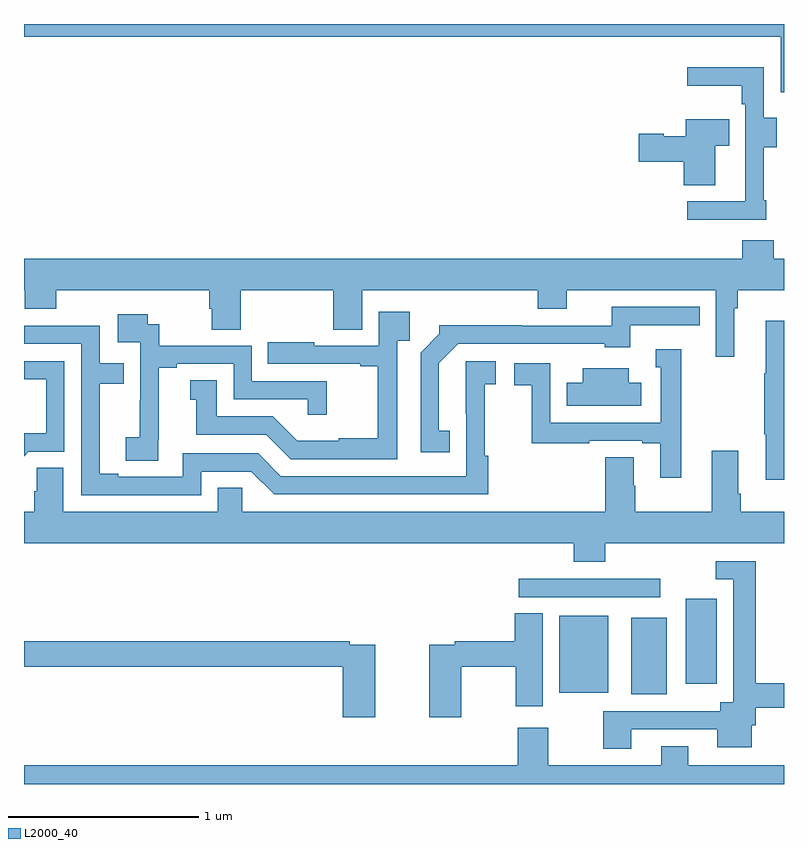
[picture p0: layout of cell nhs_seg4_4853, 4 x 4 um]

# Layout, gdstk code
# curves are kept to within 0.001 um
import gdstk
lib = gdstk.Library(unit=1e-6, precision=1e-09)
def R(c, l, rs):  # rectangles x0, y0, x1, y1
    for r in rs: c.add(gdstk.rectangle(r[:2], r[2:], *l))
def P(c, l, *ps):  # polygons
    for p in ps: c.add(gdstk.Polygon(p, *l))
L2000_40 = (2000, 40)

nhs_seg4_4853 = lib.new_cell('nhs_seg4_4853')
R(nhs_seg4_4853, L2000_40, [(376.196,781.373,376.384,781.774), (375.818,781.379,376.075,781.786), (376.484,781.428,376.645,781.876), (375.603,781.884,376.348,781.98)])
P(nhs_seg4_4853, L2000_40, [(377,784.9),(373,784.9),(373,784.832),(376.983,784.832),(376.983,784.542),(377,784.542)],
  [(376.906,783.973),(376.893,783.973),(376.893,784.252),(376.963,784.252),(376.963,784.407),(376.893,784.407),(376.893,784.672),(376.491,784.672),(376.491,784.574),(376.777,784.574),(376.777,784.478),(376.797,784.478),(376.797,784.163),(376.796,784.163),(376.796,783.966),(376.491,783.966),(376.491,783.87),(376.906,783.87)],
  [(376.639,784.259),(376.712,784.259),(376.712,784.399),(376.484,784.399),(376.484,784.309),(376.368,784.309),(376.368,784.322),(376.236,784.322),(376.236,784.175),(376.472,784.175),(376.472,784.051),(376.639,784.051)],
  [(376.738,783.404),(376.757,783.404),(376.757,783.5),(377,783.5),(377,783.664),(376.946,783.664),(376.946,783.763),(376.781,783.763),(376.781,783.664),(373,783.664),(373,783.5),(373.004,783.5),(373.004,783.401),(373.169,783.401),(373.169,783.5),(373.976,783.5),(373.976,783.402),(373.988,783.402),(373.988,783.292),(374.141,783.292),(374.141,783.5),(374.627,783.5),(374.627,783.292),(374.779,783.292),(374.779,783.5),(375.704,783.5),(375.704,783.401),(375.856,783.401),(375.856,783.5),(376.641,783.5),(376.641,783.15),(376.738,783.15)],
  [(375.242,782.759),(375.184,782.759),(375.184,783.115),(375.285,783.216),(376.056,783.216),(376.056,783.2),(376.192,783.2),(376.192,783.315),(376.556,783.315),(376.556,783.411),(376.093,783.411),(376.093,783.312),(375.62,783.312),(375.62,783.314),(375.186,783.314),(375.186,783.269),(375.087,783.17),(375.087,782.646),(375.242,782.646)],
  [(374.964,783.233),(375.029,783.233),(375.029,783.385),(374.868,783.385),(374.868,783.207),(374.527,783.207),(374.527,783.226),(374.284,783.226),(374.284,783.111),(374.771,783.111),(374.771,783.099),(374.863,783.099),(374.863,782.719),(374.657,782.719),(374.657,782.707),(374.438,782.707),(374.31,782.835),(374.014,782.835),(374.014,783.026),(373.874,783.026),(373.874,782.923),(373.907,782.923),(373.907,782.739),(374.274,782.739),(374.403,782.61),(374.964,782.61)],
  [(373.706,782.713),(373.708,782.713),(373.708,783.091),(373.804,783.091),(373.804,783.111),(374.103,783.111),(374.103,782.925),(374.493,782.925),(374.493,782.844),(374.594,782.844),(374.594,783.021),(374.199,783.021),(374.199,783.207),(373.712,783.207),(373.712,783.321),(373.65,783.321),(373.65,783.373),(373.494,783.373),(373.494,783.225),(373.611,783.225),(373.611,782.921),(373.61,782.921),(373.61,782.724),(373.536,782.724),(373.536,782.602),(373.706,782.602)],
  [(377,783.337),(376.904,783.337),(376.904,783.062),(376.897,783.062),(376.897,782.74),(376.904,782.74),(376.904,782.502),(377,782.502)],
  [(373.932,782.544),(374.196,782.544),(374.316,782.424),(375.443,782.424),(375.443,782.627),(375.426,782.627),(375.426,783.003),(375.484,783.003),(375.484,783.124),(375.326,783.124),(375.327,782.52),(374.352,782.52),(374.232,782.64),(373.836,782.64),(373.836,782.517),(373.495,782.517),(373.495,782.532),(373.399,782.532),(373.399,783.006),(373.526,783.006),(373.526,783.114),(373.398,783.114),(373.398,783.312),(373,783.312),(373,783.216),(373.302,783.216),(373.302,782.421),(373.932,782.421)],
  [(376.459,783.187),(376.325,783.187),(376.325,783.093),(376.35,783.093),(376.35,782.802),(375.771,782.802),(375.771,783.114),(375.579,783.114),(375.579,782.998),(375.673,782.998),(375.673,782.694),(375.974,782.694),(375.974,782.706),(376.253,782.706),(376.253,782.694),(376.349,782.694),(376.349,782.511),(376.459,782.511)],
  [(373.023,782.649),(373.212,782.649),(373.212,783.126),(373,783.126),(373,783.03),(373.116,783.03),(373.116,782.745),(373,782.745),(373,782.626)],
  [(376.249,783.013),(376.183,783.013),(376.183,783.088),(375.941,783.088),(375.941,783.013),(375.856,783.013),(375.856,782.891),(376.249,782.891)],
  [(376.058,782.168),(377,782.168),(377,782.332),(376.772,782.332),(376.772,782.428),(376.759,782.428),(376.759,782.653),(376.619,782.653),(376.619,782.332),(376.218,782.332),(376.218,782.471),(376.21,782.471),(376.21,782.621),(376.058,782.621),(376.058,782.332),(374.148,782.332),(374.148,782.459),(374.021,782.459),(374.021,782.332),(373.207,782.332),(373.207,782.564),(373.068,782.564),(373.068,782.441),(373.055,782.441),(373.055,782.332),(373,782.332),(373,782.168),(375.893,782.168),(375.893,782.069),(376.058,782.069)],
  [(376.195,781.188),(376.649,781.188),(376.649,781.094),(376.831,781.094),(376.831,781.208),(376.85,781.208),(376.85,781.302),(377,781.302),(377,781.43),(376.85,781.43),(376.85,782.073),(376.641,782.073),(376.641,781.977),(376.734,781.977),(376.734,781.33),(376.664,781.33),(376.664,781.284),(376.048,781.284),(376.048,781.086),(376.195,781.086)],
  [(375.3,781.516),(375.589,781.516),(375.589,781.308),(375.73,781.308),(375.73,781.799),(375.584,781.799),(375.584,781.652),(375.268,781.652),(375.268,781.632),(375.134,781.632),(375.134,781.251),(375.3,781.251)],
  [(374.848,781.632),(374.714,781.632),(374.714,781.652),(373,781.652),(373,781.516),(374.678,781.516),(374.678,781.251),(374.848,781.251)],
  [(377,781),(376.495,781),(376.495,781.099),(376.355,781.099),(376.355,781),(375.759,781),(375.759,781.195),(375.599,781.195),(375.599,781),(373,781),(373,780.9),(377,780.9)])

lib.write_gds('nhs_seg4_4853.gds')
